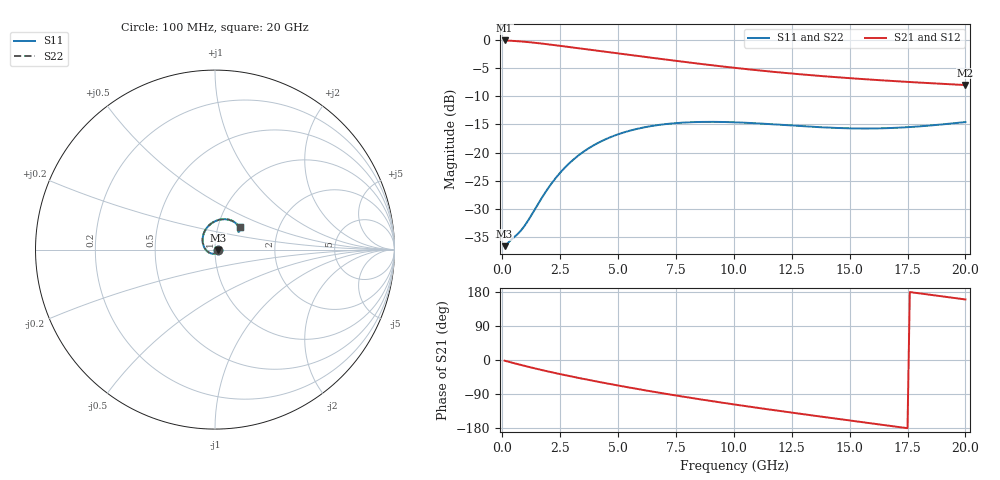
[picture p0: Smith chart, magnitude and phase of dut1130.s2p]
! Touchstone file exported from HFSS 2024.1.0
!  File:  C:/UserFiles/LocalFiles/RDL_TSV_Batchsim/temp_RDL_TSV_1130_1780109893.aedt
!  Generated:  11:09:25 AM May 30, 2026
!  Design:  RDL_TSV
!  Project:  temp_RDL_TSV_1130_1780109893
!  Setup:  Setup1
!  Solution:  Sweep
! Variables:
!  dtsv = 9.69um
!  hbump = 3um
!  htsv = 65.73um
!  ldown = 661.2um
!  lrdl = 280.96um
!  p = 40
!  p1 = 41.49um
!  rhole = 10um
!  subl = 3107.44um
!  t = 450um
!  tdown = 2.87um
!  trdl = 2.75um
!  viad = 10um
!  wdown = 27.85um
!  wrdl = 29.33um
!  xbump = 18um
# GHz S MA R 50.000000
! Terminal data exported
! Port[1] = TM1_1_T1
! Port[2] = TM1_4_T1
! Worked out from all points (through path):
!   200 points, 100 MHz to 20 GHz, reference 50 ohm
!   highest |S21| = -0.13 dB at 100 MHz (marker M1); lowest = -8.0 dB at 20 GHz (marker M2)
!   group delay of S21, straight-line fit = 26.5 ps
!   lowest |S11| = -36.6 dB at 100 MHz (marker M3), VSWR 1.03, Z = 51.5 - j0.18 ohm
!   |S11| at or under -10 dB: start of sweep to end of sweep
!   |S22| runs from -36.6 to -14.5 dB; largest |S21 - S12| = 1.5e-14
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0.1  0.01486 -6.7  0.9847 -1.7  0.9847 -1.7  0.01486 -6.7
! Gamma 0 0 0 0
! Port Impedance 50 0 50 0
0.5  0.01777 -46.7  0.9752 -8.3  0.9752 -8.3  0.01777 -46.7
0.9  0.02161 -91.6  0.9617 -14.6  0.9617 -14.6  0.02162 -91.7
1.4  0.03129 -137.9  0.9397 -22.1  0.9397 -22.1  0.03132 -138.0
1.8  0.04264 -164.8  0.9194 -27.8  0.9194 -27.8  0.04269 -164.8
2.2  0.05589 174.7  0.8982 -33.3  0.8982 -33.3  0.05597 174.7
2.6  0.07003 158.4  0.8767 -38.6  0.8767 -38.6  0.07013 158.4
3  0.08432 144.9  0.8556 -43.7  0.8556 -43.7  0.08445 144.9
3.5  0.1017 130.8  0.8298 -49.8  0.8298 -49.8  0.1018 130.8
4.2  0.1239 114.5  0.795 -58.2  0.795 -58.2  0.1241 114.5
5  0.1453 99.3  0.7569 -67.3  0.7569 -67.3  0.1456 99.3
5.9  0.1638 85.3  0.7161 -77.2  0.7161 -77.2  0.1641 85.3
6.8  0.1764 73.7  0.6777 -86.6  0.6777 -86.6  0.1768 73.8
7.6  0.1833 65.2  0.6458 -94.6  0.6458 -94.6  0.1837 65.2
8.4  0.1867 58.0  0.6163 -102.4  0.6163 -102.4  0.1872 58.0
10.1  0.1854 46.5  0.5615 -118.1  0.5615 -118.1  0.186 46.5
11.7  0.1782 39.9  0.5196 -132.0  0.5196 -132.0  0.1789 39.9
13.4  0.1694 36.8  0.4837 -146.4  0.4837 -146.4  0.1701 36.8
15  0.1642 37.0  0.4565 -159.6  0.4565 -159.6  0.1648 37.0
16.7  0.165 39.1  0.4328 -173.4  0.4328 -173.4  0.1657 39.0
18.3  0.1727 41.2  0.414 173.6  0.414 173.6  0.1733 41.1
20  0.1865 42.1  0.3968 159.8  0.3968 159.8  0.187 42.0
